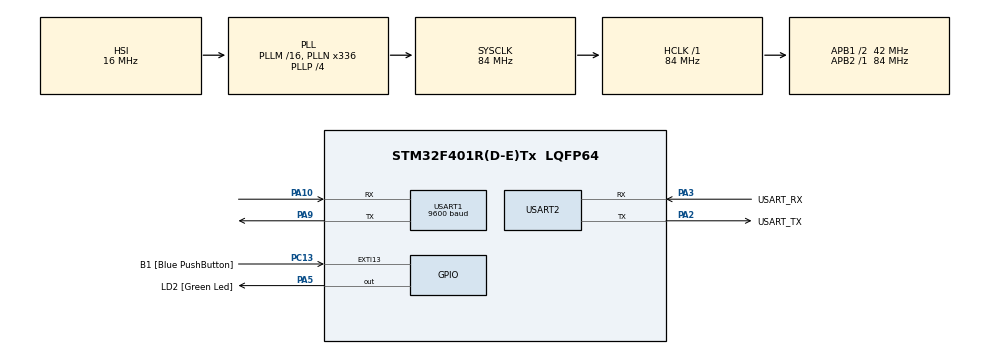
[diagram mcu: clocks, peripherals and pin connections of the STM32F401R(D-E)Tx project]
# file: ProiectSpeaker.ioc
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FREERTOS.Queues01=commandQueue,5,uint16_t,0,Dynamic,NULL,NULL;statusQueue,5,uint16_t,0,Dynamic,NULL,NULL
FREERTOS.Tasks01=Task1,24,128,StartTask1,Default,NULL,Dynamic,NULL,NULL;Task2,24,128,StartTask2,Default,NULL,Dynamic,NULL,NULL;Task3,24,128,StartTask3,Default,NULL,Dynamic,NULL,NULL
Mcu.Family=STM32F4
Mcu.Name=STM32F401R(D-E)Tx
Mcu.Package=LQFP64
NVIC.PriorityGroup=NVIC_PRIORITYGROUP_4
NVIC.TIM5_IRQn=true\:15\:0\:false\:false\:true\:false\:false\:true\:true
NVIC.TimeBase=TIM5_IRQn
NVIC.TimeBaseIP=TIM5
PA10.Mode=Asynchronous
PA10.Signal=USART1_RX
PA13.GPIO_Label=TMS
PA13.Mode=Trace_Asynchronous_SW
PA13.Signal=SYS_JTMS-SWDIO
PA14.GPIO_Label=TCK
PA14.Mode=Trace_Asynchronous_SW
PA14.Signal=SYS_JTCK-SWCLK
PA2.GPIO_Label=USART_TX
PA2.GPIO_Mode=GPIO_MODE_AF_PP
PA2.GPIO_PuPd=GPIO_NOPULL
PA2.GPIO_Speed=GPIO_SPEED_FREQ_LOW
PA2.Mode=Asynchronous
PA2.Signal=USART2_TX
PA3.GPIO_Label=USART_RX
PA3.GPIO_Mode=GPIO_MODE_AF_PP
PA3.GPIO_PuPd=GPIO_NOPULL
PA3.GPIO_Speed=GPIO_SPEED_FREQ_LOW
PA3.Mode=Asynchronous
PA3.Signal=USART2_RX
PA5.GPIO_Label=LD2 [Green Led]
PA5.GPIO_Mode=GPIO_MODE_OUTPUT_PP
PA5.GPIO_PuPd=GPIO_NOPULL
PA5.GPIO_Speed=GPIO_SPEED_FREQ_LOW
PA5.Signal=GPIO_Output
PA9.Mode=Asynchronous
PA9.Signal=USART1_TX
PB3.GPIO_Label=SWO
PB3.Mode=Trace_Asynchronous_SW
PB3.Signal=SYS_JTDO-SWO
PC13-ANTI_TAMP.GPIO_Label=B1 [Blue PushButton]
PC13-ANTI_TAMP.GPIO_ModeDefaultEXTI=GPIO_MODE_IT_FALLING
PC13-ANTI_TAMP.GPIO_PuPd=GPIO_NOPULL
PC13-ANTI_TAMP.Signal=GPXTI13
PC14-OSC32_IN.Mode=LSE-External-Oscillator
PC14-OSC32_IN.Signal=RCC_OSC32_IN
PC15-OSC32_OUT.Mode=LSE-External-Oscillator
PC15-OSC32_OUT.Signal=RCC_OSC32_OUT
PH0\ -\ OSC_IN.Mode=HSE-External-Clock-Source
PH0\ -\ OSC_IN.Signal=RCC_OSC_IN
PH1\ -\ OSC_OUT.Mode=HSE-External-Clock-Source
PH1\ -\ OSC_OUT.Signal=RCC_OSC_OUT
ProjectManager.HeapSize=0x200
ProjectManager.StackSize=0x400
ProjectManager.TargetToolchain=STM32CubeIDE
RCC.48MHZClocksFreq_Value=48000000
RCC.AHBFreq_Value=84000000
RCC.APB1CLKDivider=RCC_HCLK_DIV2
RCC.APB1Freq_Value=42000000
RCC.APB1TimFreq_Value=84000000
RCC.APB2Freq_Value=84000000
RCC.APB2TimFreq_Value=84000000
RCC.CortexFreq_Value=84000000
RCC.HCLKFreq_Value=84000000
RCC.HSE_VALUE=8000000
RCC.HSI_VALUE=16000000
RCC.PLLN=336
RCC.PLLP=RCC_PLLP_DIV4
RCC.PLLQ=7
RCC.SYSCLKFreq_VALUE=84000000
RCC.SYSCLKSource=RCC_SYSCLKSOURCE_PLLCLK
RCC.VCOOutputFreq_Value=336000000
USART1.BaudRate=9600
USART1.VirtualMode=VM_ASYNC
USART2.VirtualMode=VM_ASYNC
VP_FREERTOS_VS_CMSIS_V2.Mode=CMSIS_V2
VP_SYS_VS_tim5.Mode=TIM5
board=NUCLEO-F401RE

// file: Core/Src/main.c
/* USER CODE BEGIN Header */
/**
  ******************************************************************************
  * @file           : main.c
  * @brief          : Main program body
  ******************************************************************************
  * @attention
  *
  * Copyright (c) 2025 STMicroelectronics.
  * All rights reserved.
  *
  * This software is licensed under terms that can be found in the LICENSE file
  * in the root directory of this software component.
  * If no LICENSE file comes with this software, it is provided AS-IS.
  *
  ******************************************************************************
  */
/* USER CODE END Header */
#include "main.h"
#include "cmsis_os.h"

/* USER CODE BEGIN Includes */

uint8_t SELECT_SD_CARD[5] = {0x7E, 0x03, 0x35, 0x01, 0xEF};
uint8_t PLAY_SONG_INDEX[6] = {0x7E, 0x04, 0x41, 0x00, 0x02, 0xEF};
uint8_t PLAY_NEXT[4] = {0x7E, 0x02, 0x03, 0xEF};
uint8_t PLAY_PREVIOUS[4] = {0x7E, 0x02, 0x04, 0xEF};
uint8_t SET_VOLUME[5] = {0x7E, 0x03, 0x31, 0x0A, 0xEF};
uint8_t PAUSE[4] = {0x7E, 0x02, 0x02, 0xEF};
uint8_t PLAY[4] = {0x7E, 0x02, 0x01, 0xEF};

void PlaySong(uint8_t index)
{
	PLAY_SONG_INDEX[4] =  index;
}

#define BUTTON_PORT GPIOC
#define BUTTON_PIN  GPIO_PIN_13

#define LONG_PRESS_TIME   1000   // ms
#define DOUBLE_CLICK_TIME 400    // ms

typedef enum {
  CMD_PLAY,
  CMD_PAUSE,
  CMD_NEXT,
  CMD_PREV
} Command_t;

/* USER CODE END Includes */

UART_HandleTypeDef huart1;
UART_HandleTypeDef huart2;

/* Definitions for Task1 */
osThreadId_t Task1Handle;
const osThreadAttr_t Task1_attributes = {
  .name = "Task1",
  .stack_size = 128 * 4,
  .priority = (osPriority_t) osPriorityNormal,
};
/* Definitions for Task2 */
osThreadId_t Task2Handle;
const osThreadAttr_t Task2_attributes = {
  .name = "Task2",
  .stack_size = 128 * 4,
  .priority = (osPriority_t) osPriorityNormal,
};
/* Definitions for Task3 */
osThreadId_t Task3Handle;
const osThreadAttr_t Task3_attributes = {
  .name = "Task3",
  .stack_size = 128 * 4,
  .priority = (osPriority_t) osPriorityNormal,
};
/* Definitions for commandQueue */
osMessageQueueId_t commandQueueHandle;
const osMessageQueueAttr_t commandQueue_attributes = {
  .name = "commandQueue"
};
/* Definitions for statusQueue */
osMessageQueueId_t statusQueueHandle;
const osMessageQueueAttr_t statusQueue_attributes = {
  .name = "statusQueue"
};

void SystemClock_Config(void);
static void MX_GPIO_Init(void);
static void MX_USART2_UART_Init(void);
static void MX_USART1_UART_Init(void);
void StartTask1(void *argument);
void StartTask2(void *argument);
void StartTask3(void *argument);

int main(void)
{

  /* MCU Configuration--------------------------------------------------------*/

  /* Reset of all peripherals, Initializes the Flash interface and the Systick. */
  HAL_Init();

  /* Configure the system clock */
  SystemClock_Config();

  /* Initialize all configured peripherals */
  MX_GPIO_Init();
  MX_USART2_UART_Init();
  MX_USART1_UART_Init();

  /* Init scheduler */
  osKernelInitialize();

  /* Create the queue(s) */
  /* creation of commandQueue */
  commandQueueHandle = osMessageQueueNew (5, sizeof(uint16_t), &commandQueue_attributes);

  /* creation of statusQueue */
  statusQueueHandle = osMessageQueueNew (5, sizeof(uint16_t), &statusQueue_attributes);

  /* Create the thread(s) */
  /* creation of Task1 */
  Task1Handle = osThreadNew(StartTask1, NULL, &Task1_attributes);

  /* creation of Task2 */
  Task2Handle = osThreadNew(StartTask2, NULL, &Task2_attributes);

  /* creation of Task3 */
  Task3Handle = osThreadNew(StartTask3, NULL, &Task3_attributes);

  /* Start scheduler */
  osKernelStart();

  /* We should never get here as control is now taken by the scheduler */

  /* Infinite loop */
  while (1)
  {

  }
}

void SystemClock_Config(void)
{
  RCC_OscInitTypeDef RCC_OscInitStruct = {0};
  RCC_ClkInitTypeDef RCC_ClkInitStruct = {0};

  /** Configure the main internal regulator output voltage
  */
  __HAL_RCC_PWR_CLK_ENABLE();
  __HAL_PWR_VOLTAGESCALING_CONFIG(PWR_REGULATOR_VOLTAGE_SCALE2);

  /** Initializes the RCC Oscillators according to the specified parameters
  * in the RCC_OscInitTypeDef structure.
  */
  RCC_OscInitStruct.OscillatorType = RCC_OSCILLATORTYPE_HSI;
  RCC_OscInitStruct.HSIState = RCC_HSI_ON;
  RCC_OscInitStruct.HSICalibrationValue = RCC_HSICALIBRATION_DEFAULT;
  RCC_OscInitStruct.PLL.PLLState = RCC_PLL_ON;
  RCC_OscInitStruct.PLL.PLLSource = RCC_PLLSOURCE_HSI;
  RCC_OscInitStruct.PLL.PLLM = 16;
  RCC_OscInitStruct.PLL.PLLN = 336;
  RCC_OscInitStruct.PLL.PLLP = RCC_PLLP_DIV4;
  RCC_OscInitStruct.PLL.PLLQ = 7;
  if (HAL_RCC_OscConfig(&RCC_OscInitStruct) != HAL_OK)
  {
    Error_Handler();
  }

  /** Initializes the CPU, AHB and APB buses clocks
  */
  RCC_ClkInitStruct.ClockType = RCC_CLOCKTYPE_HCLK|RCC_CLOCKTYPE_SYSCLK
                              |RCC_CLOCKTYPE_PCLK1|RCC_CLOCKTYPE_PCLK2;
  RCC_ClkInitStruct.SYSCLKSource = RCC_SYSCLKSOURCE_PLLCLK;
  RCC_ClkInitStruct.AHBCLKDivider = RCC_SYSCLK_DIV1;
  RCC_ClkInitStruct.APB1CLKDivider = RCC_HCLK_DIV2;
  RCC_ClkInitStruct.APB2CLKDivider = RCC_HCLK_DIV1;

  if (HAL_RCC_ClockConfig(&RCC_ClkInitStruct, FLASH_LATENCY_2) != HAL_OK)
  {
    Error_Handler();
  }
}

static void MX_USART1_UART_Init(void)
{

  huart1.Instance = USART1;
  huart1.Init.BaudRate = 9600;
  huart1.Init.WordLength = UART_WORDLENGTH_8B;
  huart1.Init.StopBits = UART_STOPBITS_1;
  huart1.Init.Parity = UART_PARITY_NONE;
  huart1.Init.Mode = UART_MODE_TX_RX;
  huart1.Init.HwFlowCtl = UART_HWCONTROL_NONE;
  huart1.Init.OverSampling = UART_OVERSAMPLING_16;
  if (HAL_UART_Init(&huart1) != HAL_OK)
  {
    Error_Handler();
  }

}

static void MX_USART2_UART_Init(void)
{

  huart2.Instance = USART2;
  huart2.Init.BaudRate = 115200;
  huart2.Init.WordLength = UART_WORDLENGTH_8B;
  huart2.Init.StopBits = UART_STOPBITS_1;
  huart2.Init.Parity = UART_PARITY_NONE;
  huart2.Init.Mode = UART_MODE_TX_RX;
  huart2.Init.HwFlowCtl = UART_HWCONTROL_NONE;
  huart2.Init.OverSampling = UART_OVERSAMPLING_16;
  if (HAL_UART_Init(&huart2) != HAL_OK)
  {
    Error_Handler();
  }

}

static void MX_GPIO_Init(void)
{
  GPIO_InitTypeDef GPIO_InitStruct = {0};

  /* GPIO Ports Clock Enable */
  __HAL_RCC_GPIOC_CLK_ENABLE();
  __HAL_RCC_GPIOH_CLK_ENABLE();
  __HAL_RCC_GPIOA_CLK_ENABLE();
  __HAL_RCC_GPIOB_CLK_ENABLE();

  /*Configure GPIO pin Output Level */
  HAL_GPIO_WritePin(LD2_GPIO_Port, LD2_Pin, GPIO_PIN_RESET);

  /*Configure GPIO pin : B1_Pin */
  GPIO_InitStruct.Pin = B1_Pin;
  GPIO_InitStruct.Mode = GPIO_MODE_IT_FALLING;
  GPIO_InitStruct.Pull = GPIO_NOPULL;
  HAL_GPIO_Init(B1_GPIO_Port, &GPIO_InitStruct);

  /*Configure GPIO pin : LD2_Pin */
  GPIO_InitStruct.Pin = LD2_Pin;
  GPIO_InitStruct.Mode = GPIO_MODE_OUTPUT_PP;
  GPIO_InitStruct.Pull = GPIO_NOPULL;
  GPIO_InitStruct.Speed = GPIO_SPEED_FREQ_LOW;
  HAL_GPIO_Init(LD2_GPIO_Port, &GPIO_InitStruct);

}

void StartTask1(void *argument)
{
  /* USER CODE BEGIN 5 */
	uint8_t lastState = 1;
	uint32_t pressTick = 0;
	uint32_t lastReleaseTick = 0;
	uint8_t clickCount = 0;
	static uint8_t isPlaying = 1;
  /* Infinite loop */
  for(;;)
  {
	  uint8_t state = HAL_GPIO_ReadPin(BUTTON_PORT, BUTTON_PIN);
	  uint32_t now = xTaskGetTickCount() * portTICK_PERIOD_MS;

	  if (state == 0 && lastState == 1)
	        pressTick = now;

	      if (state == 1 && lastState == 0)
	      {
	        uint32_t pressDuration = now - pressTick;
	        Command_t cmd;

	        if (pressDuration >= LONG_PRESS_TIME)
	        {
	          cmd = CMD_NEXT;
	          osMessageQueuePut(commandQueueHandle, &cmd, 0, osWaitForever);
	          clickCount = 0;
	        }
	        else
	        {
	          clickCount++;
	          lastReleaseTick = now;

	          if (clickCount == 2 &&
	              (now - lastReleaseTick) < DOUBLE_CLICK_TIME)
	          {
	            cmd = CMD_PREV;
	            osMessageQueuePut(commandQueueHandle, &cmd, 0, osWaitForever);
	            clickCount = 0;
	          }
	        }
	      }

	      if (clickCount == 1 &&
	          (now - lastReleaseTick) > DOUBLE_CLICK_TIME)
	      {
	        Command_t cmd = isPlaying ? CMD_PAUSE : CMD_PLAY;
	        isPlaying ^= 1;

	        osMessageQueuePut(commandQueueHandle, &cmd, 0, osWaitForever);
	        clickCount = 0;
	      }

	      lastState = state;
	      osDelay(20);
  }
  /* USER CODE END 5 */
}

void StartTask2(void *argument)
{
  /* USER CODE BEGIN StartTask2 */
	Command_t cmd;
	char status[32];
  /* Infinite loop */
  for(;;)
  {
	  osMessageQueueGet(commandQueueHandle, &cmd, NULL, osWaitForever);

	  switch (cmd)
	      {
	        case CMD_PLAY:
	          HAL_UART_Transmit(&huart1, PLAY, sizeof(PLAY), 1000);
	          strcpy(status, "STATUS: PLAYING\r\n");
	          break;

	        case CMD_PAUSE:
	          HAL_UART_Transmit(&huart1, PAUSE, sizeof(PAUSE), 1000);
	          strcpy(status, "STATUS: PAUSED\r\n");
	          break;

	        case CMD_NEXT:
	          HAL_UART_Transmit(&huart1, PLAY_NEXT, sizeof(PLAY_NEXT), 1000);
	          strcpy(status, "STATUS: NEXT TRACK\r\n");
	          break;

	        case CMD_PREV:
	          HAL_UART_Transmit(&huart1, PLAY_PREVIOUS, sizeof(PLAY_PREVIOUS), 1000);
	          strcpy(status, "STATUS: PREVIOUS TRACK\r\n");
	          break;
	      }

	      osMessageQueuePut(statusQueueHandle, status, 0, osWaitForever);
  }
  /* USER CODE END StartTask2 */
}

void StartTask3(void *argument)
{
  /* USER CODE BEGIN StartTask3 */
	char msg[32];
  /* Infinite loop */
  for(;;)
  {
	  osMessageQueueGet(statusQueueHandle, msg, NULL, osWaitForever);
	  HAL_UART_Transmit(&huart2, (uint8_t*)msg, strlen(msg), 1000);
  }
  /* USER CODE END StartTask3 */
}

void HAL_TIM_PeriodElapsedCallback(TIM_HandleTypeDef *htim)
{
  if (htim->Instance == TIM5)
  {
    HAL_IncTick();
  }
}

void Error_Handler(void)
{
  __disable_irq();
  while (1)
  {
  }
}
